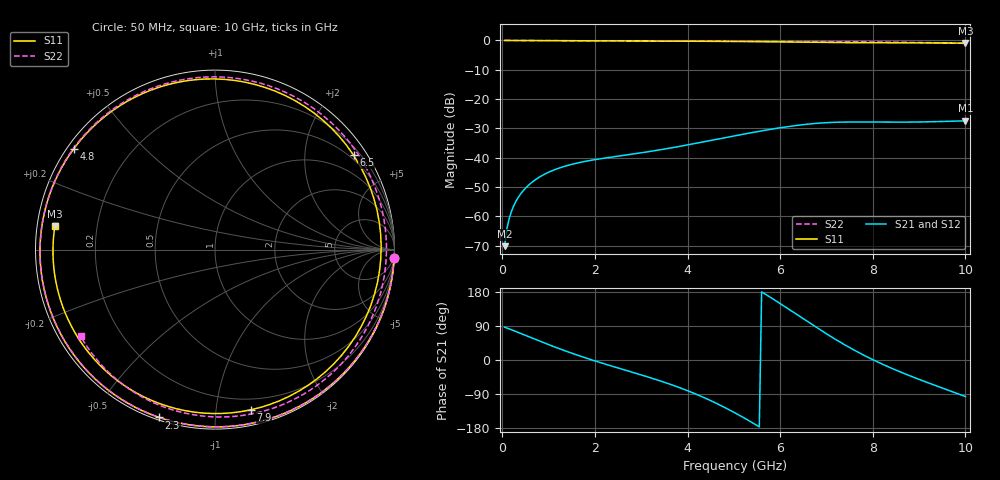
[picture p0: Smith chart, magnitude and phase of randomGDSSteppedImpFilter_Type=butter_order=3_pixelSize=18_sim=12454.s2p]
! freq	dB(S11)	phase(S11)	dB(S12)	phase(S12)
!  dB(S21)	phase(S21)	dB(S22)	phase(S22)
!S-par simulation data
#  GHz  S  DB  R 50
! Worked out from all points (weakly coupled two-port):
!   200 points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, 50 MHz to 10 GHz, reference 50 ohm
!   highest |S21| = -27.42 dB at 10 GHz (marker M1); lowest = -70.2 dB at 50 MHz (marker M2)
!   lowest |S11| = -0.9 dB at 10 GHz (marker M3), VSWR 19.31, Z = 2.6 + j3.64 ohm
!   |S11| at or under -10 dB: nowhere
!   |S22| runs from -1.0 to 0.0 dB; largest |S21 - S12| = 0
!   S11 on the Smith chart (normalised r, x): 50 MHz: 1, -44; 2.3 GHz: 0.01, -0.72; 4.8 GHz: 0.02, +0.32; 6.5 GHz: 0.39, +3.20; 7.9 GHz: 0.11, -1.24; 10 GHz: 0.05, +0.07
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0.05  -0.00 -2.6  -70.18 86.6  -70.18 86.6  -0.01 -2.6
0.1  -0.01 -5.1  -64.19 84.5  -64.19 84.5  -0.01 -5.1
0.2  -0.02 -10.2  -58.20 79.6  -58.20 79.6  -0.02 -10.2
0.5  -0.03 -25.3  -50.41 64.7  -50.41 64.7  -0.03 -25.5
1.15  -0.07 -57.0  -43.97 33.5  -43.97 33.5  -0.07 -58.1
1.75  -0.10 -84.6  -41.37 7.5  -41.37 7.5  -0.11 -87.6
2.3  -0.13 -108.4  -39.92 -13.8  -39.92 -13.8  -0.14 -114.3
2.9  -0.15 -133.3  -38.56 -35.7  -38.56 -35.7  -0.18 -143.4
3.4  -0.18 -153.7  -37.33 -54.7  -37.33 -54.7  -0.21 -168.3
4.1  -0.22 176.9  -35.33 -85.9  -35.33 -85.9  -0.26 155.2
4.8  -0.29 144.5  -33.19 -125.1  -33.19 -125.1  -0.30 116.1
5.05  -0.32 131.6  -32.44 -141.2  -32.44 -141.2  -0.32 101.5
5.45  -0.38 109.0  -31.27 -169.1  -31.27 -169.1  -0.34 77.8
5.85  -0.46 83.2  -30.18 160.7  -30.18 160.7  -0.36 53.8
6.5  -0.59 34.3  -28.72 108.8  -28.72 108.8  -0.38 15.9
6.7  -0.63 17.8  -28.39 92.7  -28.39 92.7  -0.39 4.7
7.2  -0.71 -23.9  -27.91 54.1  -27.91 54.1  -0.42 -21.9
7.55  -0.75 -51.8  -27.81 29.3  -27.81 29.3  -0.45 -39.3
7.9  -0.77 -77.4  -27.82 6.9  -27.82 6.9  -0.49 -55.9
8.35  -0.80 -106.7  -27.86 -18.8  -27.86 -18.8  -0.55 -76.1
9.15  -0.85 -149.9  -27.77 -58.1  -27.77 -58.1  -0.72 -110.3
10  -0.90 171.7  -27.42 -96.4  -27.42 -96.4  -1.01 -147.2
